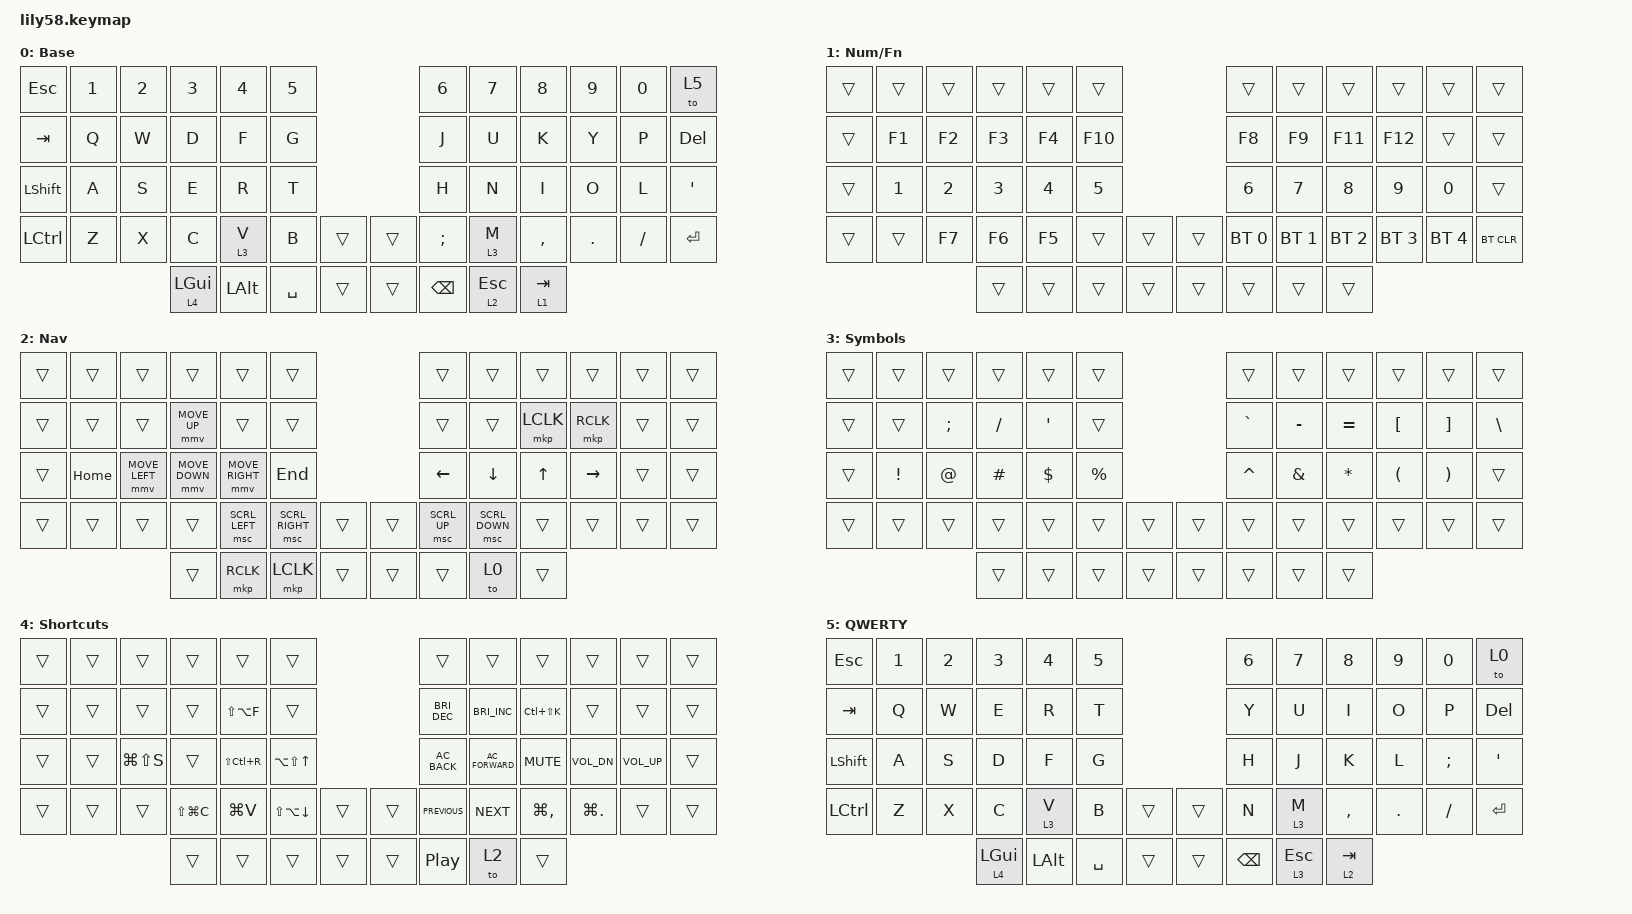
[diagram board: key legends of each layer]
#include <behaviors/mouse_keys.dtsi>
#include <behaviors.dtsi>
#include <dt-bindings/zmk/bt.h>
#include <dt-bindings/zmk/keys.h>
#include <dt-bindings/zmk/pointing.h>

/ {
    combos {
        compatible = "zmk,combos";

        alt_left {
            bindings = <&kp LEFT_ALT>;
            key-positions = <27 28>;
        };

        alt_right {
            bindings = <&kp LEFT_ALT>;
            key-positions = <32 31>;
        };

        control_left {
            bindings = <&kp LEFT_CONTROL>;
            key-positions = <26 28 27>;
        };

        control_right {
            bindings = <&kp LEFT_CONTROL>;
            key-positions = <32 33 31>;
        };

        shift_left {
            bindings = <&kp LEFT_SHIFT>;
            key-positions = <27 26>;
        };

        shift_right {
            bindings = <&kp LEFT_SHIFT>;
            key-positions = <32 33>;
        };

        gui_left {
            bindings = <&kp LEFT_GUI>;
            key-positions = <26 28>;
        };

        gui_right {
            bindings = <&kp LEFT_GUI>;
            key-positions = <31 33>;
        };
    };

    keymap {
        compatible = "zmk,keymap";

        base {
            display-name = "Base";
            bindings = <
&kp ESCAPE        &kp N1  &kp N2  &kp N3          &kp N4        &kp N5                       &kp N6         &kp N7        &kp N8     &kp N9   &kp N0    &to 5
&kp TAB           &kp Q   &kp W   &kp D           &kp F         &kp G                        &kp J          &kp U         &kp K      &kp Y    &kp P     &kp DELETE
&kp LEFT_SHIFT    &kp A   &kp S   &kp E           &kp R         &kp T                        &kp H          &kp N         &kp I      &kp O    &kp L     &kp SQT
&kp LEFT_CONTROL  &kp Z   &kp X   &kp C           &lt 3 V       &kp B      &trans    &trans  &kp SEMICOLON  &lt 3 M       &kp COMMA  &kp DOT  &kp FSLH  &kp ENTER
                                  &lt 4 LEFT_GUI  &kp LEFT_ALT  &kp SPACE  &trans    &trans  &kp BACKSPACE  &lt 2 ESCAPE  &lt 1 TAB
            >;
        };

        num_fn {
            display-name = "Num/Fn";
            bindings = <
&trans  &trans        &trans        &trans        &trans        &trans                          &trans        &trans        &trans        &trans        &trans        &trans
&trans  &kp F1        &kp F2        &kp F3        &kp F4        &kp F10                         &kp F8        &kp F9        &kp F11       &kp F12       &trans        &trans
&trans  &kp NUMBER_1  &kp NUMBER_2  &kp NUMBER_3  &kp NUMBER_4  &kp NUMBER_5                    &kp NUMBER_6  &kp NUMBER_7  &kp NUMBER_8  &kp NUMBER_9  &kp NUMBER_0  &trans
&trans  &trans        &kp F7        &kp F6        &kp F5        &trans        &trans    &trans  &bt BT_SEL 0  &bt BT_SEL 1  &bt BT_SEL 2  &bt BT_SEL 3  &bt BT_SEL 4  &bt BT_CLR
                                    &trans        &trans        &trans        &trans    &trans  &trans        &trans        &trans
            >;
        };

        nav {
            display-name = "Nav";
            bindings = <
&trans  &trans    &trans          &trans          &trans           &trans                             &trans        &trans          &trans     &trans     &trans  &trans
&trans  &trans    &trans          &mmv MOVE_UP    &trans           &trans                             &trans        &trans          &mkp LCLK  &mkp RCLK  &trans  &trans
&trans  &kp HOME  &mmv MOVE_LEFT  &mmv MOVE_DOWN  &mmv MOVE_RIGHT  &kp END                            &kp LEFT      &kp DOWN        &kp UP     &kp RIGHT  &trans  &trans
&trans  &trans    &trans          &trans          &msc SCRL_LEFT   &msc SCRL_RIGHT  &trans    &trans  &msc SCRL_UP  &msc SCRL_DOWN  &trans     &trans     &trans  &trans
                                  &trans          &mkp RCLK        &mkp LCLK        &trans    &trans  &trans        &to 0           &trans
            >;
        };

        symbols {
            display-name = "Symbols";
            bindings = <
&trans  &trans    &trans    &trans     &trans      &trans                         &trans     &trans         &trans        &trans                &trans                 &trans
&trans  &trans    &kp SEMI  &kp SLASH  &kp APOS    &trans                         &kp GRAVE  &kp MINUS      &kp EQUAL     &kp LEFT_BRACKET      &kp RIGHT_BRACKET      &kp BACKSLASH
&trans  &kp EXCL  &kp AT    &kp HASH   &kp DOLLAR  &kp PERCENT                    &kp CARET  &kp AMPERSAND  &kp ASTERISK  &kp LEFT_PARENTHESIS  &kp RIGHT_PARENTHESIS  &trans
&trans  &trans    &trans    &trans     &trans      &trans       &trans    &trans  &trans     &trans         &trans        &trans                &trans                 &trans
                            &trans     &trans      &trans       &trans    &trans  &trans     &trans         &trans
            >;
        };

        shortcuts {
            display-name = "Shortcuts";
            bindings = <
&trans  &trans  &trans         &trans         &trans         &trans                                    &trans                &trans                &trans         &trans          &trans           &trans
&trans  &trans  &trans         &trans         &kp LS(LA(F))  &trans                                    &kp C_BRIGHTNESS_DEC  &kp C_BRIGHTNESS_INC  &kp LC(LS(K))  &trans          &trans           &trans
&trans  &trans  &kp LG(LS(S))  &trans         &kp LS(LC(R))  &kp LA(LS(UP_ARROW))                      &kp C_AC_BACK         &kp C_AC_FORWARD      &kp K_MUTE     &kp C_VOL_DN    &kp C_VOLUME_UP  &trans
&trans  &trans  &trans         &kp LS(LG(C))  &kp LG(V)      &kp LS(LA(DOWN_ARROW))  &trans    &trans  &kp C_PREVIOUS        &kp C_NEXT            &kp LG(COMMA)  &kp LG(PERIOD)  &trans           &trans
                               &trans         &trans         &trans                  &trans    &trans  &kp C_PLAY_PAUSE      &to 2                 &trans
            >;
        };

        qwerty {
            display-name = "QWERTY";
            bindings = <
&kp ESCAPE        &kp N1  &kp N2  &kp N3          &kp N4        &kp N5                       &kp N6         &kp N7        &kp N8     &kp N9   &kp N0    &to 0
&kp TAB           &kp Q   &kp W   &kp E           &kp R         &kp T                        &kp Y          &kp U         &kp I      &kp O    &kp P     &kp DELETE
&kp LEFT_SHIFT    &kp A   &kp S   &kp D           &kp F         &kp G                        &kp H          &kp J         &kp K      &kp L    &kp SEMI  &kp SQT
&kp LEFT_CONTROL  &kp Z   &kp X   &kp C           &lt 3 V       &kp B      &trans    &trans  &kp N          &lt 3 M       &kp COMMA  &kp DOT  &kp FSLH  &kp ENTER
                                  &lt 4 LEFT_GUI  &kp LEFT_ALT  &kp SPACE  &trans    &trans  &kp BACKSPACE  &lt 3 ESCAPE  &lt 2 TAB
            >;
        };
    };
};
